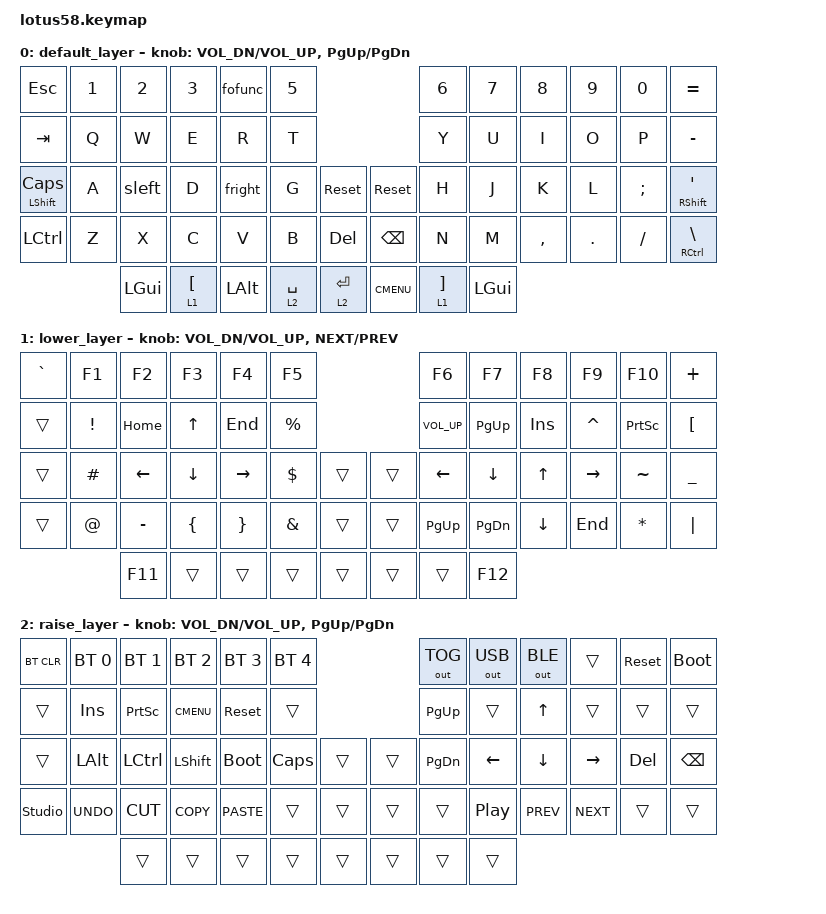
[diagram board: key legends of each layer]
/*
 * Copyright (c) 2022 The ZMK Contributors
 *
 * SPDX-License-Identifier: MIT
 */

#include <behaviors.dtsi>
#include <dt-bindings/zmk/keys.h>
#include <dt-bindings/zmk/bt.h>
#include <dt-bindings/zmk/outputs.h>

/ {
    
    combos {
        compatible = "zmk,combos";
        combo_dsklg {
            timeout-ms = <100>;
            key-positions = <24 52>;
            layers = <0>;
            bindings = <&kp LGUI>;
        };
    };

    behaviors {
        fofunc: four_ffour {
            compatible = "zmk,behavior-mod-morph";
            #binding-cells = <0>;
            bindings = <&kp N4>, <&kp F4>;
            mods = <(MOD_LALT|MOD_RALT)>;
        };
        sleft: s_left {
            compatible = "zmk,behavior-mod-morph";
            #binding-cells = <0>;
            bindings = <&kp S>, <&kp LEFT>;
            mods = <(MOD_LGUI|MOD_RGUI)>;
        };
        fright: f_right {
            compatible = "zmk,behavior-mod-morph";
            #binding-cells = <0>;
            bindings = <&kp F>, <&kp RIGHT>;
            mods = <(MOD_LGUI|MOD_RGUI)>;
        };
    };

    keymap {
        compatible = "zmk,keymap";

        default_layer {
//   ------------------------------------------------------------------------------------------------------------
//  0|  ESC      |  1  |  2  |  3   |  4   |  5   |                     |  6   |  7    |  8    |  9   |   0   |   =   | 11
// 12|  TAB      |  Q  |  W  |  E   |  R   |  T   |                     |  Y   |  U    |  I    |  O   |   P   |   -   | 23
// 24|  SFT CAPS |  A  |  S  |  D   |  F   |  G   |  RESET  |  | RESET  |  H   |  J    |  K    |  L   |   ;   | ' SFT | 37
// 38|  CTRL     |  Z  |  X  |  C   |  V   |  B   |  DEL   |  | BSPC    |  N   |  M    |  ,    |  .   |   /   | \ CTRL| 51
// 52                    |LGUI  |  LT [ | ALT  |SPACE LW|  |ENTER RS| CMENU |   LW | RGUI  |                        59
            bindings = <
&kp ESC          &kp N1 &kp N2   &kp N3       &fofunc   &kp N5                               &kp N6    &kp N7      &kp N8    &kp N9   &kp N0   &kp EQUAL
&kp TAB          &kp Q  &kp W    &kp E        &kp R     &kp T                                &kp Y     &kp U       &kp I     &kp O    &kp P    &kp MINUS
&mt LSHFT CLCK   &kp A  &sleft   &kp D        &fright   &kp G      &sys_reset  &sys_reset     &kp H     &kp J       &kp K     &kp L    &kp SEMI &mt RSHFT SQT
&kp LCTRL        &kp Z  &kp X    &kp C        &kp V     &kp B      &kp DEL        &kp BSPC   &kp N     &kp M       &kp COMMA &kp DOT  &kp FSLH &mt RCTRL BSLH
                        &kp LGUI &lt 1 LBKT   &kp LALT  &lt 2 SPACE     &lt 2 RET  &kp K_CMENU  &lt 1 RBKT  &kp LGUI
            >;

            sensor-bindings = <&inc_dec_kp C_VOL_DN C_VOL_UP &inc_dec_kp PG_UP PG_DN>;
        };

        lower_layer {
// ------------------------------------------------------------------------------------------------------------
// | `     |  F1 |  F2 |  F3  |  F4  |  F5  |                   |  F6  |  F7   |  F8   |  F9  |  F10  |  F11  |
// |       |  !  | HOME|   ^  |  END |  %   |                   | VOL^ |  PGUP |  INS  |  ^   |  PSCR |   [   |
// |       |  #  |  <- |   v  | ->   |  $   |        |  |       | <-   |   <v  |   ^   |  ->  |   ~   |   _   |
// |       |  @  |  -  |  (   |  )   |  &   |        |  |       | HOME |  PGDN |  PGUP |  END |   *   |   |   |
//                     |  F11 |      |      |        |  |       |      |       |  F12  |
            bindings = <
&kp GRAVE  &kp F1    &kp F2    &kp F3      &kp F4     &kp F5                     &kp F6       &kp F7     &kp F8    &kp F9     &kp F10   &kp PLUS
&trans     &kp EXCL  &kp HOME  &kp UP      &kp END    &kp PRCNT                  &kp C_VOL_UP &kp PG_UP  &kp INS   &kp CARET  &kp PSCRN &kp LBKT
&trans     &kp HASH  &kp LEFT  &kp DOWN    &kp RIGHT  &kp DLLR  &trans   &trans  &kp LEFT     &kp DOWN   &kp UP    &kp RIGHT  &kp TILDE &kp UNDER
&trans     &kp AT    &kp MINUS &kp LBRC    &kp RBRC   &kp AMPS  &trans   &trans  &kp PG_UP    &kp PG_DN  &kp DOWN  &kp END  &kp STAR  &kp PIPE
                               &kp F11     &trans     &trans    &trans   &trans  &trans       &trans     &kp F12
            >;

            sensor-bindings = <&inc_dec_kp C_VOL_DN C_VOL_UP &inc_dec_kp C_NEXT C_PREV>;
        };

        raise_layer {
// ------------------------------------------------------------------------------------------------------------
// |BTCLR| BT1  | BT2  |  BT3  |  BT4  |  BT5 |                |OUTTOG|OUTUSB| OUTBT |      | RESET | FLASH |
// |     | INS  | PSCR | GUI   | RESET |      |                | PGUP |      |   ^   |      |       |       |
// |     | ALT  | CTRL | SHIFT | FLASH | CAPS |      |  |      | PGDN |   <- |   v   |  ->  |  DEL  | BSPC  |
// |     | UNDO | CUT  | COPY  | PASTE |      |      |  |      |      |  |>  |  <|<| | |>|> |       |       |
//                     |       |       |      |      |  |      |      |      |       |
            bindings = <
&bt BT_CLR &bt BT_SEL 0 &bt BT_SEL 1 &bt BT_SEL 2 &bt BT_SEL 3 &bt BT_SEL 4                    &out OUT_TOG  &out OUT_USB  &out OUT_BLE  &trans     &sys_reset  &bootloader
&trans     &kp INS      &kp PSCRN    &kp K_CMENU  &sys_reset       &trans                          &kp PG_UP     &trans        &kp UP        &trans     &trans  &trans
&trans     &kp LALT     &kp LCTRL    &kp LSHFT    &bootloader  &kp CLCK     &trans   &trans    &kp PG_DN     &kp LEFT      &kp DOWN      &kp RIGHT  &kp DEL &kp BSPC
&studio_unlock     &kp K_UNDO   &kp K_CUT    &kp K_COPY   &kp K_PASTE  &trans       &trans   &trans    &trans        &kp C_PP      &kp C_PREV    &kp C_NEXT &trans  &trans
                                     &trans       &trans       &trans       &trans   &trans    &trans        &trans        &trans
            >;

            sensor-bindings = <&inc_dec_kp C_VOL_DN C_VOL_UP &inc_dec_kp PG_UP PG_DN>;
        };
    };
};
